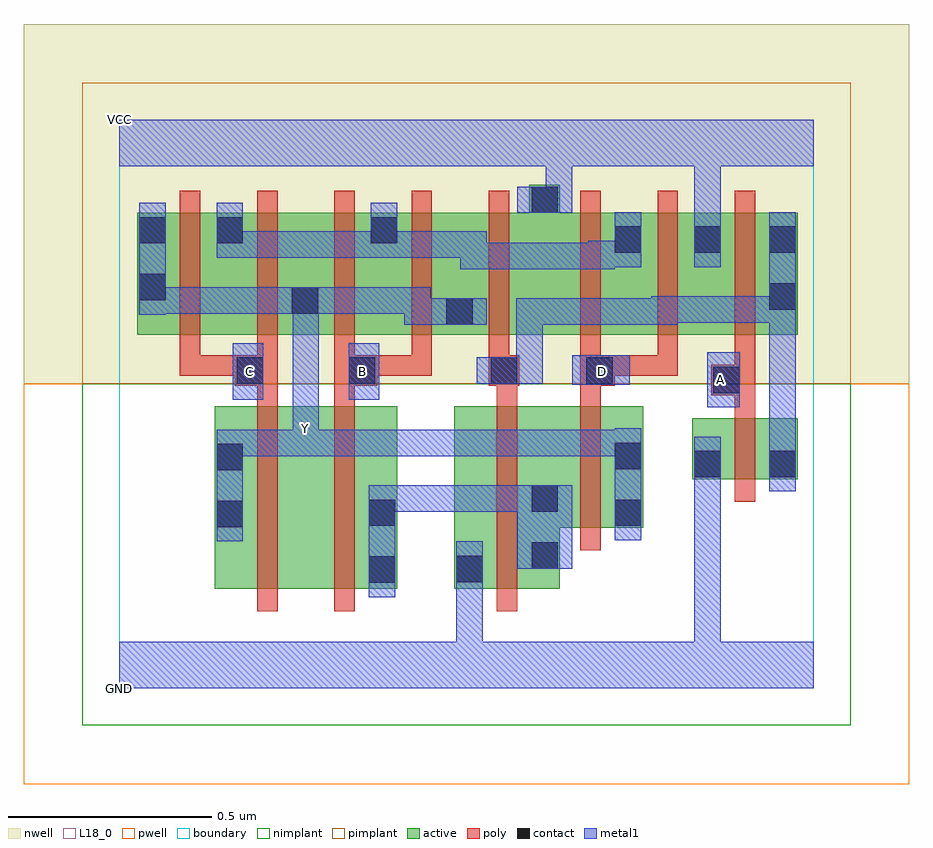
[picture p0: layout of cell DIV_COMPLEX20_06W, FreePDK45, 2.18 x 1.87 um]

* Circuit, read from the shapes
.subckt DIV_COMPLEX20_06W A B C D GND VCC Y
M1 n1 C Y VSUBS nfet w=0.45u l=0.05u
M2 n2 B n1 VSUBS nfet w=0.45u l=0.05u
M3 n2 n3 GND VSUBS nfet w=0.45u l=0.05u
M4 Y D n2 VSUBS nfet w=0.3u l=0.05u
M5 n3 A GND VSUBS nfet w=0.15u l=0.05u
M6 n4 C Y n5 pfet w=0.3u l=0.05u m=2
M7 n4 B Y n5 pfet w=0.3u l=0.05u m=2
M8 VCC n3 Y n5 pfet w=0.3u l=0.05u
M9 n4 D VCC n5 pfet w=0.3u l=0.05u m=2
M10 n3 A VCC n5 pfet w=0.3u l=0.05u
.ends

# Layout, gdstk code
import gdstk
lib = gdstk.Library(unit=1e-6, precision=1e-09)
def R(c, l, rs):  # rectangles x0, y0, x1, y1
    for r in rs: c.add(gdstk.rectangle(r[:2], r[2:], *l))
def A(c, l, x, y, w, h, nx, ny, dx, dy):  # array of equal rectangles
    R(c, l, [(x+i*dx, y+j*dy, x+i*dx+w, y+j*dy+h) for i in range(nx) for j in range(ny)])
active = (1, 0)
pwell = (2, 0)
nwell = (3, 0)
nimplant = (4, 0)
pimplant = (5, 0)
poly = (9, 0)
contact = (10, 0)
metal1 = (11, 0)
L18_0 = (18, 0)
boundary = (235, 0)

div_complex20_06w = lib.new_cell('DIV_COMPLEX20_06W')
R(div_complex20_06w, active, [(0.235,0.245,0.46,0.695), (0.235,0.245,0.31,0.695), (0.46,0.245,0.685,0.695), (0.61,0.245,0.685,0.542), (0.825,0.245,1.085,0.695), (0.825,0.245,0.9,0.542), (1.01,0.245,1.085,0.657), (1.01,0.395,1.29,0.695), (1.215,0.395,1.29,0.695), (1.41,0.515,1.485,0.665), (1.41,0.515,1.67,0.665), (1.595,0.515,1.67,0.665), (0.045,0.87,0.12,1.17), (0.045,0.87,0.31,1.17), (0.235,0.87,0.495,1.17), (0.42,0.87,0.69,1.17), (0.615,0.87,0.875,1.17), (0.8,0.87,1.085,1.17), (1.01,0.87,1.29,1.17), (1.215,0.87,1.485,1.17), (1.41,0.87,1.67,1.17), (1.595,0.87,1.67,1.17), (0.8,0.89,0.875,1.07), (0.42,0.917,0.495,1.07), (0.615,0.995,0.69,1.17), (0.235,1.007,0.31,1.17), (1.01,1.007,1.085,1.24), (1.215,1.007,1.29,1.17), (1.41,1.007,1.485,1.17)])
R(div_complex20_06w, pwell, [(-0.235,-0.235,1.945,0.75)])
R(div_complex20_06w, nwell, [(-0.235,0.75,1.945,1.635)])
R(div_complex20_06w, nimplant, [(-0.09,-0.09,1.8,0.75)])
R(div_complex20_06w, pimplant, [(-0.09,0.75,1.8,1.49)])
A(div_complex20_06w, poly, 0.15, 0.77, 0.05, 0.095, 5, 1, 0.19, 0)
A(div_complex20_06w, poly, 0.15, 0.815, 0.05, 0.41, 5, 1, 0.19, 0)
A(div_complex20_06w, poly, 1.135, 0.815, 0.05, 0.41, 3, 1, 0.19, 0)
R(div_complex20_06w, poly, [(0.34,0.19,0.39,0.75), (0.53,0.19,0.58,0.75), (0.93,0.19,0.98,0.75), (1.135,0.34,1.185,0.75), (1.515,0.46,1.565,0.72), (1.515,0.67,1.565,0.772), (0.34,0.7,0.39,0.795), (0.53,0.7,0.58,0.795), (0.93,0.7,0.98,0.795), (1.135,0.7,1.185,0.795), (1.457,0.722,1.565,0.797), (0.285,0.745,0.39,0.82), (0.53,0.745,0.635,0.82), (0.91,0.745,0.985,0.82), (1.135,0.745,1.22,0.82), (1.515,0.747,1.565,0.865), (0.15,0.77,0.2,0.82), (0.15,0.77,0.335,0.82), (0.285,0.77,0.335,0.82), (0.285,0.77,0.335,0.82), (0.585,0.77,0.635,0.82), (0.585,0.77,0.635,0.82), (0.585,0.77,0.77,0.82), (0.72,0.77,0.77,0.82), (1.135,0.77,1.185,0.865), (1.17,0.77,1.375,0.82), (1.325,0.77,1.375,0.865), (1.325,0.77,1.375,0.82), (1.325,0.77,1.375,0.82), (1.325,0.77,1.375,0.82)])
R(div_complex20_06w, contact, [(0.615,0.26,0.68,0.325), (0.83,0.262,0.895,0.327), (1.015,0.295,1.08,0.36), (0.24,0.397,0.305,0.462), (0.615,0.4,0.68,0.465), (1.22,0.4,1.285,0.465), (1.015,0.435,1.08,0.5), (1.415,0.52,1.48,0.585), (1.6,0.52,1.665,0.585), (0.24,0.537,0.305,0.602), (1.22,0.54,1.285,0.605), (1.462,0.727,1.527,0.792), (0.29,0.75,0.355,0.815), (0.565,0.75,0.63,0.815), (0.915,0.75,0.98,0.815), (1.15,0.75,1.215,0.815), (0.805,0.895,0.87,0.96), (0.425,0.922,0.49,0.987), (1.6,0.932,1.665,0.997), (0.05,0.955,0.115,1.02), (1.22,1.072,1.285,1.137), (1.415,1.072,1.48,1.137), (1.6,1.072,1.665,1.137), (0.05,1.095,0.115,1.16), (0.24,1.095,0.305,1.16), (0.62,1.095,0.685,1.16), (1.015,1.17,1.08,1.235)])
R(div_complex20_06w, metal1, [(0,0,1.71,0.115), (0.83,0.05,0.895,0.115), (0.83,0.05,0.895,0.115), (0.83,0.05,0.895,0.292), (1.415,0.05,1.48,0.115), (1.415,0.05,1.48,0.115), (1.415,0.05,1.48,0.55), (0.615,0.225,0.68,0.5), (0.83,0.227,0.895,0.362), (0.98,0.295,1.115,0.5), (0.24,0.362,0.305,0.637), (1.22,0.365,1.285,0.64), (0.615,0.435,0.68,0.5), (0.615,0.435,0.68,0.5), (0.615,0.435,0.905,0.5), (0.84,0.435,0.905,0.5), (0.84,0.435,0.905,0.5), (0.84,0.435,0.905,0.5), (0.84,0.435,1.045,0.5), (1.415,0.485,1.48,0.55), (1.415,0.485,1.48,0.55), (1.415,0.485,1.48,0.55), (1.415,0.485,1.48,0.55), (1.415,0.485,1.48,0.62), (1.6,0.485,1.665,0.62), (1.6,0.555,1.665,0.962), (0.24,0.572,0.305,0.637), (0.24,0.572,0.305,0.637), (0.24,0.572,0.492,0.637), (0.427,0.572,0.492,0.637), (0.427,0.572,0.492,0.637), (0.427,0.572,0.492,0.637), (0.427,0.572,0.492,0.637), (0.427,0.572,0.492,0.707), (0.427,0.572,0.697,0.637), (0.632,0.572,0.697,0.637), (0.632,0.572,0.697,0.637), (0.632,0.572,0.697,0.637), (0.632,0.572,0.905,0.637), (0.84,0.572,0.905,0.637), (0.84,0.572,0.905,0.637), (0.84,0.572,0.905,0.637), (0.84,0.572,1.042,0.637), (0.977,0.572,1.042,0.637), (0.977,0.572,1.18,0.637), (1.115,0.572,1.18,0.637), (1.115,0.572,1.285,0.637), (0.427,0.642,0.492,0.987), (1.447,0.692,1.527,0.827), (0.28,0.71,0.355,0.85), (0.565,0.71,0.64,0.85), (1.115,0.747,1.257,0.82), (0.88,0.75,1.015,0.815), (0.95,0.75,1.042,0.815), (0.977,0.75,1.042,0.815), (0.977,0.75,1.042,0.96), (0.702,0.895,0.835,0.96), (0.702,0.895,0.767,0.987), (0.77,0.895,0.905,0.96), (0.977,0.895,1.042,0.96), (0.977,0.895,1.18,0.96), (1.115,0.895,1.18,0.96), (1.115,0.895,1.18,0.96), (1.115,0.895,1.18,0.96), (1.115,0.895,1.375,0.96), (1.31,0.895,1.375,0.96), (1.31,0.895,1.375,0.96), (1.31,0.895,1.375,0.965), (1.6,0.897,1.665,0.962), (1.6,0.897,1.665,0.962), (1.6,0.897,1.665,1.172), (1.31,0.9,1.665,0.965), (1.6,0.9,1.665,0.965), (1.6,0.9,1.665,0.965), (0.05,0.92,0.115,1.195), (0.05,0.922,0.115,0.987), (0.05,0.922,0.115,0.987), (0.05,0.922,0.317,0.987), (0.252,0.922,0.317,0.987), (0.252,0.922,0.317,0.987), (0.252,0.922,0.317,0.987), (0.252,0.922,0.455,0.987), (0.39,0.922,0.525,0.987), (0.46,0.922,0.525,0.987), (0.46,0.922,0.525,0.987), (0.46,0.922,0.662,0.987), (0.597,0.922,0.662,0.987), (0.597,0.922,0.767,0.987), (0.84,1.032,1.042,1.097), (0.84,1.032,0.905,1.125), (0.977,1.032,1.042,1.097), (0.977,1.032,1.042,1.097), (0.977,1.032,1.042,1.097), (0.977,1.032,1.22,1.097), (1.155,1.032,1.22,1.102), (1.155,1.037,1.285,1.102), (1.22,1.037,1.285,1.172), (1.415,1.037,1.48,1.172), (0.24,1.06,0.305,1.125), (0.24,1.06,0.305,1.125), (0.24,1.06,0.305,1.195), (0.24,1.06,0.492,1.125), (0.427,1.06,0.492,1.125), (0.427,1.06,0.492,1.125), (0.427,1.06,0.492,1.125), (0.427,1.06,0.685,1.125), (0.62,1.06,0.685,1.125), (0.62,1.06,0.685,1.125), (0.62,1.06,0.685,1.195), (0.62,1.06,0.905,1.125), (1.415,1.107,1.48,1.172), (1.415,1.107,1.48,1.172), (1.415,1.107,1.48,1.35), (0.98,1.17,1.115,1.235), (1.05,1.17,1.115,1.35), (0,1.285,1.71,1.4), (1.05,1.285,1.115,1.35), (1.05,1.285,1.115,1.35)])
R(div_complex20_06w, L18_0, [(0,0,1.71,0.115), (0.83,0.05,0.895,0.115), (0.83,0.05,0.895,0.115), (0.83,0.05,0.895,0.292), (1.415,0.05,1.48,0.115), (1.415,0.05,1.48,0.115), (1.415,0.05,1.48,0.55), (0.83,0.227,0.895,0.362), (0.24,0.362,0.305,0.637), (1.22,0.365,1.285,0.64), (1.415,0.485,1.48,0.55), (1.415,0.485,1.48,0.55), (1.415,0.485,1.48,0.55), (1.415,0.485,1.48,0.55), (1.415,0.485,1.48,0.62), (0.24,0.572,0.305,0.637), (0.24,0.572,0.305,0.637), (0.24,0.572,0.492,0.637), (0.427,0.572,0.492,0.637), (0.427,0.572,0.492,0.637), (0.427,0.572,0.492,0.637), (0.427,0.572,0.492,0.637), (0.427,0.572,0.492,0.707), (0.427,0.572,0.697,0.637), (0.632,0.572,0.697,0.637), (0.632,0.572,0.697,0.637), (0.632,0.572,0.697,0.637), (0.632,0.572,0.905,0.637), (0.84,0.572,0.905,0.637), (0.84,0.572,0.905,0.637), (0.84,0.572,0.905,0.637), (0.84,0.572,1.042,0.637), (0.977,0.572,1.042,0.637), (0.977,0.572,1.18,0.637), (1.115,0.572,1.18,0.637), (1.115,0.572,1.285,0.637), (0.427,0.607,0.492,0.672), (0.427,0.642,0.492,0.987), (1.447,0.692,1.527,0.827), (0.28,0.71,0.355,0.85), (0.565,0.71,0.64,0.85), (1.447,0.727,1.512,0.792), (0.287,0.747,0.352,0.812), (0.567,0.747,0.632,0.812), (1.115,0.747,1.257,0.82), (1.157,0.747,1.222,0.812), (0.702,0.895,0.767,0.987), (0.702,0.895,0.835,0.96), (0.77,0.895,0.905,0.96), (0.05,0.92,0.115,1.195), (0.05,0.922,0.115,0.987), (0.05,0.922,0.115,0.987), (0.05,0.922,0.317,0.987), (0.252,0.922,0.317,0.987), (0.252,0.922,0.317,0.987), (0.252,0.922,0.317,0.987), (0.252,0.922,0.455,0.987), (0.39,0.922,0.525,0.987), (0.46,0.922,0.525,0.987), (0.46,0.922,0.525,0.987), (0.46,0.922,0.662,0.987), (0.597,0.922,0.662,0.987), (0.597,0.922,0.767,0.987), (1.415,1.037,1.48,1.172), (1.415,1.107,1.48,1.172), (1.415,1.107,1.48,1.172), (1.415,1.107,1.48,1.35), (0.98,1.17,1.115,1.235), (1.05,1.17,1.115,1.35), (0,1.285,1.71,1.4), (1.05,1.285,1.115,1.35), (1.05,1.285,1.115,1.35)])
R(div_complex20_06w, boundary, [(0,0,1.71,1.4)])
div_complex20_06w.add(gdstk.Label('A', (1.48,0.76), layer=11, texttype=0))
div_complex20_06w.add(gdstk.Label('B', (0.6,0.78), layer=11, texttype=0))
div_complex20_06w.add(gdstk.Label('C', (0.32,0.78), layer=11, texttype=0))
div_complex20_06w.add(gdstk.Label('D', (1.19,0.78), layer=11, texttype=0))
div_complex20_06w.add(gdstk.Label('Y', (0.46,0.64), layer=11, texttype=0))
div_complex20_06w.add(gdstk.Label('VCC', (0,1.4), layer=11, texttype=0))
div_complex20_06w.add(gdstk.Label('GND', (0,0), layer=11, texttype=0))

lib.write_gds('DIV_COMPLEX20_06W.gds')
